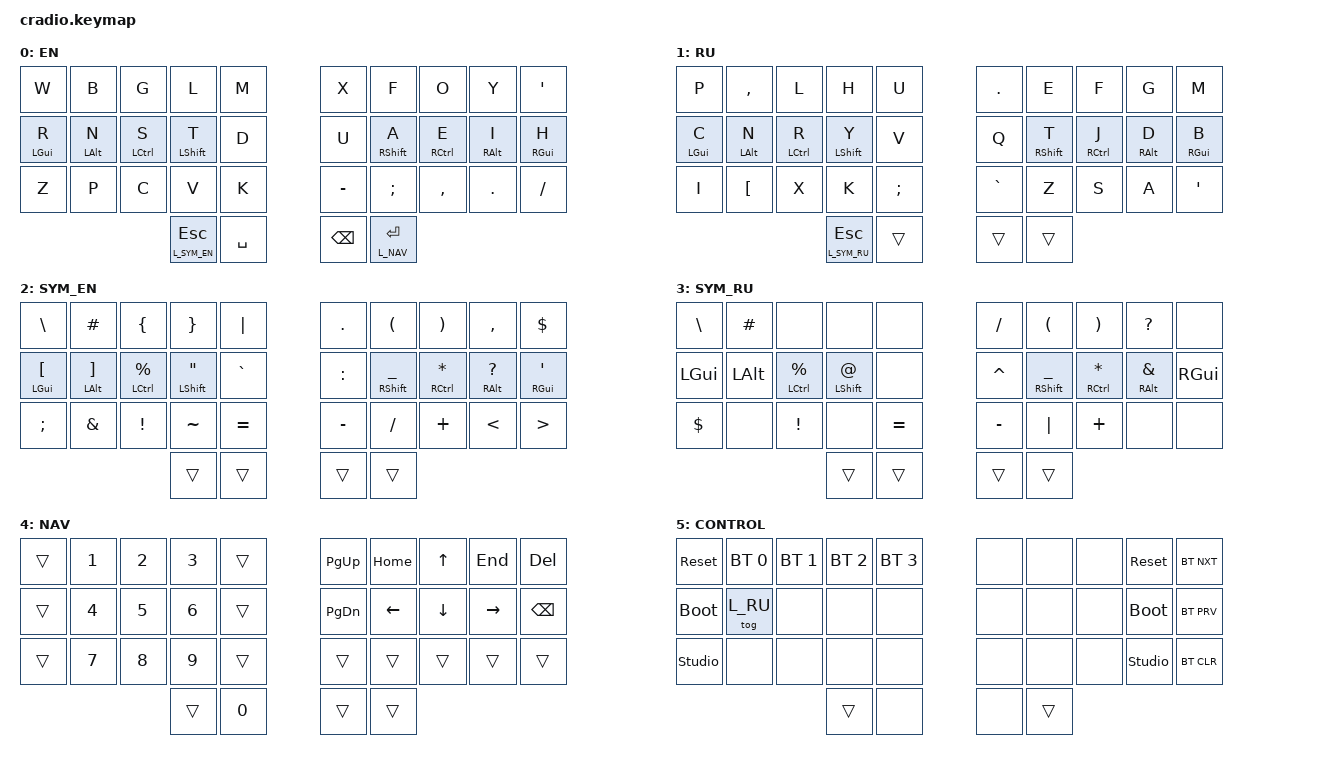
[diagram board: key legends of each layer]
// Copyright (c) 2022 The ZMK Contributors
// SPDX-License-Identifier: MIT

#include <behaviors.dtsi>
#include <dt-bindings/zmk/bt.h>
#include <dt-bindings/zmk/keys.h>

#define KEYS_L 0 1 2 3 4 10 11 12 13 14 20 21 22 23 24
#define KEYS_R 5 6 7 8 9 15 16 17 18 19 25 26 27 28 29
#define THUMBS 30 31 32 33

#define L_EN     0
#define L_RU     1
#define L_SYM_EN 2
#define L_SYM_RU 3
#define L_NAV    4
#define L_CTRL   5

/ {
    behaviors {
        // Positional "timeless" home-row mods (left hand triggers on right keys + thumbs)
        hml: homerow_mods_left {
            compatible = "zmk,behavior-hold-tap";
            #binding-cells = <2>;
            flavor = "balanced";
            tapping-term-ms = <280>;
            quick-tap-ms = <175>;
            require-prior-idle-ms = <150>;
            bindings = <&kp>, <&kp>;
            hold-trigger-key-positions = <KEYS_R THUMBS>;
            hold-trigger-on-release;
        };

        // Positional "timeless" home-row mods (right hand triggers on left keys + thumbs)
        hmr: homerow_mods_right {
            compatible = "zmk,behavior-hold-tap";
            #binding-cells = <2>;
            flavor = "balanced";
            tapping-term-ms = <280>;
            quick-tap-ms = <175>;
            require-prior-idle-ms = <150>;
            bindings = <&kp>, <&kp>;
            hold-trigger-key-positions = <KEYS_L THUMBS>;
            hold-trigger-on-release;
        };

        // Balanced thumb layer-tap (prevents accidental ESC/ENTER on fast layer taps)
        lth: layer_tap_balanced {
            compatible = "zmk,behavior-hold-tap";
            #binding-cells = <2>;
            flavor = "balanced";
            tapping-term-ms = <200>;
            quick-tap-ms = <175>;
            bindings = <&mo>, <&kp>;
        };
    };

    conditional_layers {
        compatible = "zmk,conditional-layers";

        control_en {
            if-layers = <L_SYM_EN L_NAV>;
            then-layer = <L_CTRL>;
        };

        control_ru {
            if-layers = <L_SYM_RU L_NAV>;
            then-layer = <L_CTRL>;
        };
    };

    combos {
        compatible = "zmk,combos";

        // --- Shared system combos ---
        tab {
            bindings = <&kp TAB>;
            key-positions = <0 10>;
            layers = <L_EN L_RU>;
        };

        ru_en {
            bindings = <&lang_switch>;
            key-positions = <14 24>;  // D+K (EN) / М+Ж (RU)
            layers = <L_EN L_RU>;
        };

        // --- Left-hand letter & CLI combos (EN) ---
        en_at {
            bindings = <&kp AT>;      // @ (left ring upper, QWERTY 2/@)
            key-positions = <1 11>;
            layers = <L_EN>;
        };

        en_j {
            bindings = <&kp J>;
            key-positions = <3 13>;
            layers = <L_EN>;
        };

        en_tilde {
            bindings = <&kp TILDE>;   // ~ (left pinky lower, rolls into pinky / for ~/)
            key-positions = <10 20>;
            layers = <L_EN>;
        };

        en_q {
            bindings = <&kp Q>;       // Q (left ring lower)
            key-positions = <11 21>;
            layers = <L_EN>;
        };

        en_caret {
            bindings = <&kp CARET>;   // ^
            key-positions = <13 23>;
            layers = <L_EN>;
        };

        // --- Left-hand letter combos (RU: all extra Cyrillic letters on left hand) ---
        ru_tse {
            bindings = <&kp W>;       // Ц
            key-positions = <1 11>;
            layers = <L_RU>;
        };

        ru_shcha {
            bindings = <&kp O>;       // Щ
            key-positions = <2 12>;
            layers = <L_RU>;
        };

        ru_hard {
            bindings = <&kp RBKT>;    // Ъ
            key-positions = <11 21>;
            layers = <L_RU>;
        };

        // --- Right-hand language-independent punctuation combos (EN & RU) ---
        // Top+Home (5..9):    !   :   "   (   )   (QWERTY 9=( 0=) on cols 8, 9)
        // Home+Bot (15..19):  -   =   ,   .   ?   (QWERTY , . ? on cols 7, 8, 9)

        punc_excl {
            bindings = <&kp EXCLAMATION>; // ! (EN & RU)
            key-positions = <5 15>;
            layers = <L_EN L_RU>;
        };

        punc_colon_en {
            bindings = <&kp COLON>;       // : (EN)
            key-positions = <6 16>;
            layers = <L_EN>;
        };

        punc_colon_ru {
            bindings = <&kp CARET>;       // : (RU ЙЦУКЕН = Shift+6)
            key-positions = <6 16>;
            layers = <L_RU>;
        };

        punc_dqt_en {
            bindings = <&kp DOUBLE_QUOTES>; // " (EN)
            key-positions = <7 17>;
            layers = <L_EN>;
        };

        punc_dqt_ru {
            bindings = <&kp AT>;          // " (RU ЙЦУКЕН = Shift+2)
            key-positions = <7 17>;
            layers = <L_RU>;
        };

        punc_lpar {
            bindings = <&kp LEFT_PARENTHESIS>; // ( (EN & RU, QWERTY col 8)
            key-positions = <8 18>;
            layers = <L_EN L_RU>;
        };

        punc_rpar {
            bindings = <&kp RIGHT_PARENTHESIS>; // ) (EN & RU, QWERTY col 9)
            key-positions = <9 19>;
            layers = <L_EN L_RU>;
        };

        punc_minus {
            bindings = <&kp MINUS>;       // - (EN & RU)
            key-positions = <15 25>;
            layers = <L_EN L_RU>;
        };

        punc_equal {
            bindings = <&kp EQUAL>;       // = (EN & RU)
            key-positions = <16 26>;
            layers = <L_EN L_RU>;
        };

        punc_comma_en {
            bindings = <&kp COMMA>;       // , (EN, QWERTY col 7)
            key-positions = <17 27>;
            layers = <L_EN>;
        };

        punc_comma_ru {
            bindings = <&kp QUESTION>;    // , (RU ЙЦУКЕН = Shift+/, QWERTY col 7)
            key-positions = <17 27>;
            layers = <L_RU>;
        };

        punc_dot_en {
            bindings = <&kp DOT>;         // . (EN, QWERTY col 8)
            key-positions = <18 28>;
            layers = <L_EN>;
        };

        punc_dot_ru {
            bindings = <&kp FSLH>;        // . (RU ЙЦУКЕН = /, QWERTY col 8)
            key-positions = <18 28>;
            layers = <L_RU>;
        };

        punc_qmark_en {
            bindings = <&kp QUESTION>;    // ? (EN, QWERTY col 9)
            key-positions = <19 29>;
            layers = <L_EN>;
        };

        punc_qmark_ru {
            bindings = <&kp AMPS>;        // ? (RU ЙЦУКЕН = Shift+7, QWERTY col 9)
            key-positions = <19 29>;
            layers = <L_RU>;
        };

        // --- SYM_EN extra combos ---
        sym_caret {
            bindings = <&kp CARET>;       // ^
            key-positions = <15 25>;
            layers = <L_SYM_EN>;
        };

        sym_at {
            bindings = <&kp AT>;          // @
            key-positions = <17 27>;
            layers = <L_SYM_EN>;
        };
    };

    macros {
        lang_switch: lang_switch {
            compatible = "zmk,behavior-macro";
            #binding-cells = <0>;
            bindings = <&kp LG(SPACE) &tog L_RU>;
            label = "LANG_SWITCH";
        };
    };

    keymap {
        compatible = "zmk,keymap";

        EN {
            bindings = <
&kp W        &kp B        &kp G         &kp L            &kp M        &kp X          &kp F         &kp O         &kp Y        &kp SQT
&hml LGUI R  &hml LALT N  &hml LCTRL S  &hml LSHFT T     &kp D        &kp U          &hmr RSHFT A  &hmr RCTRL E  &hmr RALT I  &hmr RGUI H
&kp Z        &kp P        &kp C         &kp V            &kp K        &kp MINUS      &kp SEMI      &kp COMMA     &kp DOT      &kp FSLH
                                        &lth L_SYM_EN ESC &kp SPACE   &kp BACKSPACE  &lth L_NAV ENTER
            >;
        };

        RU {
            bindings = <
&kp P        &kp COMMA        &kp L         &kp H            &kp U     &kp DOT    &kp E         &kp F         &kp G        &kp M
&hml LGUI C  &hml LALT N      &hml LCTRL R  &hml LSHFT Y     &kp V     &kp Q      &hmr RSHFT T  &hmr RCTRL J  &hmr RALT D  &hmr RGUI B
&kp I        &kp LEFT_BRACKET &kp X         &kp K            &kp SEMI  &kp GRAVE  &kp Z         &kp S         &kp A        &kp SQT
                                            &lth L_SYM_RU ESC &trans   &trans     &trans
            >;
        };

        SYM_EN {
            bindings = <
&kp BSLH        &kp HASH       &kp LBRC            &kp RBRC                 &kp PIPE     &kp DOT    &kp LEFT_PARENTHESIS  &kp RIGHT_PARENTHESIS  &kp COMMA          &kp DOLLAR
&hml LGUI LBKT  &hml LALT RBKT &hml LCTRL PERCENT  &hml LSHFT DOUBLE_QUOTES &kp GRAVE    &kp COLON  &hmr RSHFT UNDERSCORE &hmr RCTRL STAR        &hmr RALT QUESTION &hmr RGUI SQT
&kp SEMI        &kp AMPS       &kp EXCLAMATION     &kp TILDE                &kp EQUAL    &kp MINUS  &kp FSLH              &kp PLUS               &kp LESS_THAN      &kp GREATER_THAN
                                                   &trans                   &trans       &trans     &trans
            >;
        };

        SYM_RU {
            bindings = <
&kp BSLH        &kp HASH       &none               &none               &none        &kp FSLH   &kp LEFT_PARENTHESIS  &kp RIGHT_PARENTHESIS  &kp QUESTION      &none
&kp LGUI        &kp LALT       &hml LCTRL PERCENT  &hml LSHFT AT       &none        &kp CARET  &hmr RSHFT UNDERSCORE &hmr RCTRL STAR        &hmr RALT AMPS    &kp RGUI
&kp DOLLAR      &none          &kp EXCLAMATION     &none               &kp EQUAL    &kp MINUS  &kp PIPE              &kp PLUS               &none             &none
                                                   &trans              &trans       &trans     &trans
            >;
        };

        NAV {
            bindings = <
&trans  &kp N1  &kp N2  &kp N3  &trans    &kp PG_UP  &kp HOME  &kp UP    &kp END    &kp DEL
&trans  &kp N4  &kp N5  &kp N6  &trans    &kp PG_DN  &kp LEFT  &kp DOWN  &kp RIGHT  &kp BSPC
&trans  &kp N7  &kp N8  &kp N9  &trans    &trans     &trans    &trans    &trans     &trans
                        &trans  &kp N0    &trans     &trans
            >;
        };

        CONTROL {
            bindings = <
&sys_reset      &bt BT_SEL 0  &bt BT_SEL 1  &bt BT_SEL 2  &bt BT_SEL 3    &none   &none  &none  &sys_reset      &bt BT_NXT
&bootloader     &tog L_RU     &none         &none         &none           &none   &none  &none  &bootloader     &bt BT_PRV
&studio_unlock  &none         &none         &none         &none           &none   &none  &none  &studio_unlock  &bt BT_CLR
                                            &trans        &none           &none   &trans
            >;
        };
    };
};
